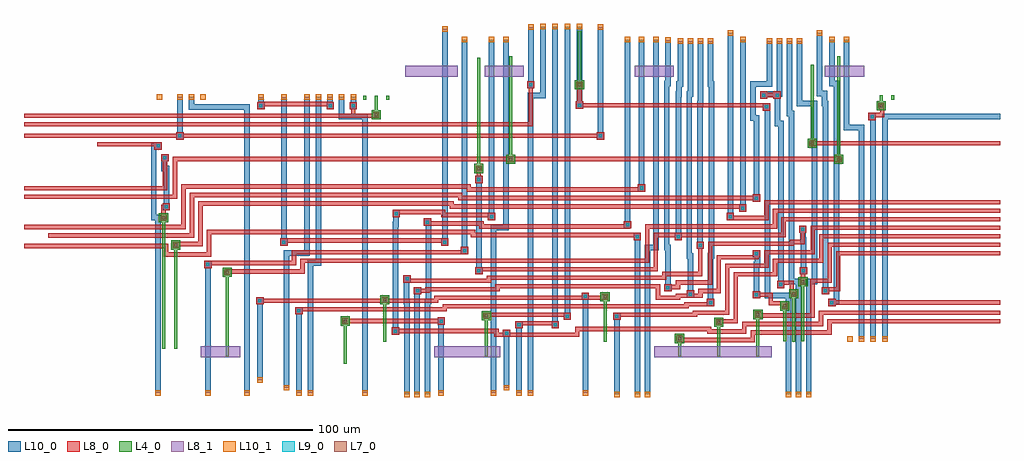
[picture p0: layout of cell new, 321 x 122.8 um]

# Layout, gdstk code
import gdstk
lib = gdstk.Library(unit=1e-6, precision=1e-09)
def R(c, l, rs):  # rectangles x0, y0, x1, y1
    for r in rs: c.add(gdstk.rectangle(r[:2], r[2:], *l))
def A(c, l, x, y, w, h, nx, ny, dx, dy):  # array of equal rectangles
    R(c, l, [(x+i*dx, y+j*dy, x+i*dx+w, y+j*dy+h) for i in range(nx) for j in range(ny)])
def P(c, l, *ps):  # polygons
    for p in ps: c.add(gdstk.Polygon(p, *l))
L4_0 = (4, 0)
L7_0 = (7, 0)
L8_0 = (8, 0)
L8_1 = (8, 1)
L9_0 = (9, 0)
L10_0 = (10, 0)
L10_1 = (10, 1)

cont = lib.new_cell('CONT')
R(cont, L4_0, [(-1.5,-1.5,1.5,1.5)])
R(cont, L7_0, [(-0.5,-0.5,0.5,0.5)])
R(cont, L8_0, [(-1,-1,1,1)])

via = lib.new_cell('VIA')
R(via, L8_0, [(-1.2,-1.2,1.2,1.2)])
R(via, L9_0, [(-0.5,-0.5,0.5,0.5)])
R(via, L10_0, [(-1.2,-1.2,1.2,1.2)])

new = lib.new_cell('new')
A(new, L4_0, 1433.0999, 13.4, 1, 1, 3, 1, 12.9, 0)
A(new, L4_0, 1329.5999, 97.8, 1, 1.4, 3, 1, 3.8, 0)
R(new, L4_0, [(1323.0999,11,1324.0999,12), (1323.0999,11.5,1324.0999,26.55), (1284.2999,13.4,1285.2999,14.4), (1369.5999,13.4,1370.5999,14.4), (1284.2999,13.9,1285.2999,42.55), (1369.5999,13.9,1370.5999,28.3), (1433.0999,13.9,1434.0999,20.8), (1445.9999,13.9,1446.9999,26.2), (1458.8999,13.9,1459.8999,28.7), (1263.3999,16,1264.3999,17), (1267.3999,16,1268.3999,17), (1263.3999,16.5,1264.3999,60.55), (1267.3999,16.5,1268.3999,51.55), (1336.1999,18.3,1337.1999,19.3), (1408.5999,18.3,1409.5999,19.3), (1470.6999,18.3,1471.6999,19.3), (1467.6999,18.4,1468.6999,19.4), (1473.6999,18.4,1474.6999,19.4), (1336.1999,18.8,1337.1999,33.5), (1408.5999,18.8,1409.5999,34.5), (1470.6999,18.8,1471.6999,35.5), (1467.6999,18.9,1468.6999,31.5), (1473.6999,18.9,1474.6999,39.5), (1367.0999,73.7,1368.0999,111.1), (1377.5999,76.8,1378.5999,111.6), (1485.4999,76.8,1486.4999,111.6), (1476.6999,82.05,1477.6999,108.9), (1333.3999,91.35,1334.3999,98.5), (1499.3999,94.4,1500.3998,98.6), (1499.3999,97.9,1500.3998,99.3), (1503.1998,97.9,1504.1998,99.3), (1400.1999,101.2,1401.1999,120.1), (1476.6999,108.4,1477.6999,109.4), (1367.0999,110.6,1368.0999,111.6), (1377.5999,111.1,1378.5999,112.1), (1485.4999,111.1,1486.4999,112.1), (1400.1999,119.6,1401.1999,120.6)])
R(new, L8_0, [(1380.0999,23.6,1393.3999,25), (1322.8999,24.35,1355.8999,25.75), (1369.3999,26.4,1397.3999,27.8), (1462.8999,30.2,1468.8999,31.6), (1482.9999,30.4,1538.9998,31.8), (1462.8999,30.9,1464.2999,33.7), (1458.1999,33,1464.2999,34.4), (1469.7789,34.1,1471.8999,35.5), (1469.7789,34.8,1471.1789,37.6), (1466.1999,36.9,1471.1789,38.3), (1473.4999,37,1474.8999,41.6), (1439.6999,40.5,1441.0999,51.2), (1473.4999,40.9,1475.0569,42.3), (1302.7999,50.8,1357.0999,52.2), (1473.4249,51,1474.8249,56.45), (1263.1999,58.05,1264.5999,62.65), (1263.1999,61.95,1265.4999,63.35), (1217.9999,68.05,1265.0499,69.45), (1263.6499,68.75,1265.0499,79.95), (1366.8999,70.4,1368.2999,76.2), (1242.0999,82.45,1262.7999,83.85), (1476.4999,82.85,1538.9998,84.25), (1217.9999,85.25,1408.2999,86.65), (1217.9999,89.05,1385.3999,90.45), (1383.9999,89.75,1385.3999,103.95), (1217.9999,91.85,1334.5999,93.25), (1496.2499,92.1,1500.9498,93.5), (1325.5999,92.55,1326.9999,97.05), (1499.5499,92.8,1500.9498,95.9), (1499.1999,95.2,1500.9498,96.6), (1399.9999,95.35,1462.8999,96.75), (1295.1999,95.7,1319.3999,97.1), (1399.9999,96.05,1401.3999,103.7), (1460.5999,98.65,1466.3749,100.05)])
P(new, L8_0, [(1217.9999,65.25),(1217.9999,66.65),(1266.9499,66.65),(1266.9499,79),(1486.6999,79),(1486.6999,77.6),(1268.3499,77.6),(1268.3499,65.25)],
  [(1217.9999,55.25),(1217.9999,56.65),(1269.7499,56.65),(1269.7499,70),(1364.9999,70),(1364.9999,69),(1421.7999,69),(1421.7999,67.6),(1363.5999,67.6),(1363.5999,68.6),(1271.1499,68.6),(1271.1499,55.25)],
  [(1264.0999,46.25),(1264.0999,49.05),(1217.9999,49.05),(1217.9999,50.45),(1265.4999,50.45),(1265.4999,47.65),(1278.1499,47.65),(1278.1499,55),(1366.3999,55),(1366.3999,54),(1420.3999,54),(1420.3999,52.6),(1364.9999,52.6),(1364.9999,53.6),(1279.5499,53.6),(1279.5499,46.25)],
  [(1445.7999,24.3),(1445.7999,25.7),(1451.3999,25.7),(1451.3999,41.1),(1464.2999,41.1),(1464.2999,45.6),(1479.5249,45.6),(1479.5249,53.65),(1538.9998,53.65),(1538.9998,52.25),(1480.9249,52.25),(1480.9249,44.2),(1465.6999,44.2),(1465.6999,39.7),(1452.7999,39.7),(1452.7999,24.3)],
  [(1449.5999,58.2),(1449.5999,59.6),(1461.4999,59.6),(1461.4999,64.85),(1538.9998,64.85),(1538.9998,63.45),(1462.8999,63.45),(1462.8999,58.2)],
  [(1372.6999,19.8),(1372.6999,21.05),(1339.4499,21.05),(1339.4499,22.45),(1374.0999,22.45),(1374.0999,21.2),(1399.2999,21.2),(1399.2999,23.1),(1444.0999,23.1),(1444.0999,22.3),(1454.1999,22.3),(1454.1999,24.8),(1479.3999,24.8),(1479.3999,28.5),(1538.9998,28.5),(1538.9998,27.1),(1480.7999,27.1),(1480.7999,23.4),(1455.5999,23.4),(1455.5999,20.9),(1442.6999,20.9),(1442.6999,21.7),(1400.6999,21.7),(1400.6999,19.8)],
  [(1366.8999,41.4),(1366.8999,42.8),(1425.0999,42.8),(1425.0999,54),(1467.0999,54),(1467.0999,59.25),(1538.9998,59.25),(1538.9998,57.85),(1468.4999,57.85),(1468.4999,52.6),(1426.4999,52.6),(1426.4999,41.4)],
  [(1284.0999,40.65),(1284.0999,42.05),(1308.8999,42.05),(1308.8999,45.6),(1422.2999,45.6),(1422.2999,56.8),(1464.2999,56.8),(1464.2999,62.05),(1538.9998,62.05),(1538.9998,60.65),(1465.6999,60.65),(1465.6999,55.4),(1423.6999,55.4),(1423.6999,44.2),(1310.2999,44.2),(1310.2999,40.65)],
  [(1412.2999,26.4),(1412.2999,27.8),(1437.9999,27.8),(1437.9999,28.5),(1448.5999,28.5),(1448.5999,43.9),(1461.4999,43.9),(1461.4999,48.4),(1476.7249,48.4),(1476.7249,56.45),(1538.9998,56.45),(1538.9998,55.05),(1478.1249,55.05),(1478.1249,47),(1462.8999,47),(1462.8999,42.5),(1449.9999,42.5),(1449.9999,27.1),(1439.3999,27.1),(1439.3999,26.4)],
  [(1480.8999,34.8),(1480.8999,36.2),(1485.1249,36.2),(1485.1249,48.05),(1538.9998,48.05),(1538.9998,46.65),(1486.5249,46.65),(1486.5249,34.8)],
  [(1432.8999,18.1),(1432.8999,19.5),(1456.9999,19.5),(1456.9999,22),(1482.1999,22),(1482.1999,25.7),(1538.9998,25.7),(1538.9998,24.3),(1483.5999,24.3),(1483.5999,20.6),(1458.3999,20.6),(1458.3999,18.1)],
  [(1458.6999,26.2),(1458.6999,27.6),(1476.5999,27.6),(1476.5999,39),(1482.3249,39),(1482.3249,50.85),(1538.9998,50.85),(1538.9998,49.45),(1483.7249,49.45),(1483.7249,37.6),(1477.9999,37.6),(1477.9999,26.2)],
  [(1355.1999,59.2),(1355.1999,60.2),(1339.6999,60.2),(1339.6999,61.6),(1356.5999,61.6),(1356.5999,60.6),(1372.4999,60.6),(1372.4999,59.2)],
  [(1307.6999,28.2),(1307.6999,29.6),(1355.6499,29.6),(1355.6499,30.6),(1435.1999,30.6),(1435.1999,31.3),(1444.4999,31.3),(1444.4999,29.9),(1436.5999,29.9),(1436.5999,29.2),(1357.0499,29.2),(1357.0499,28.2)],
  [(1277.7999,43.45),(1277.7999,44.85),(1306.0999,44.85),(1306.0999,48.4),(1363.5999,48.4),(1363.5999,47),(1307.4999,47),(1307.4999,43.45)],
  [(1294.8999,31),(1294.8999,32.4),(1352.8499,32.4),(1352.8499,33.4),(1409.7999,33.4),(1409.7999,32),(1354.2499,32),(1354.2499,31)],
  [(1367.7999,55.4),(1367.7999,56.4),(1349.9999,56.4),(1349.9999,57.8),(1369.1999,57.8),(1369.1999,56.8),(1417.1999,56.8),(1417.1999,55.4)],
  [(1267.1999,49.65),(1267.1999,51.05),(1275.3499,51.05),(1275.3499,64.4),(1359.3999,64.4),(1359.3999,63.4),(1455.0999,63.4),(1455.0999,62),(1357.9999,62),(1357.9999,63),(1276.7499,63),(1276.7499,49.65)],
  [(1425.7999,32),(1425.7999,35.8),(1374.3999,35.8),(1374.3999,34.8),(1351.4499,34.8),(1351.4499,34.3),(1346.7499,34.3),(1346.7499,35.7),(1350.0499,35.7),(1350.0499,36.2),(1372.9999,36.2),(1372.9999,37.2),(1427.1999,37.2),(1427.1999,33.4),(1432.3999,33.4),(1432.3999,34.1),(1439.7999,34.1),(1439.7999,35.6),(1445.7999,35.6),(1445.7999,46.7),(1459.5999,46.7),(1459.5999,45.3),(1447.1999,45.3),(1447.1999,34.2),(1441.1999,34.2),(1441.1999,32.7),(1433.7999,32.7),(1433.7999,32)],
  [(1429.0999,35.5),(1429.0999,36.9),(1432.3999,36.9),(1432.3999,38.4),(1442.9999,38.4),(1442.9999,51.2),(1469.8999,51.2),(1469.8999,51.7),(1474.8249,51.7),(1474.8249,50.3),(1471.2999,50.3),(1471.2999,49.8),(1444.3999,49.8),(1444.3999,37),(1433.7999,37),(1433.7999,35.5)],
  [(1343.2999,37.6),(1343.2999,39),(1370.1999,39),(1370.1999,40),(1427.8999,40),(1427.8999,41.2),(1441.0999,41.2),(1441.0999,39.8),(1429.2999,39.8),(1429.2999,38.6),(1371.5999,38.6),(1371.5999,37.6)],
  [(1225.9999,52.45),(1225.9999,53.85),(1272.5499,53.85),(1272.5499,67.2),(1362.1999,67.2),(1362.1999,66.2),(1459.5999,66.2),(1459.5999,64.8),(1360.7999,64.8),(1360.7999,65.8),(1273.9499,65.8),(1273.9499,52.45)])
A(new, L8_1, 1425.2999, 13.1, 12.9, 3.6, 3, 1, 12.9, 0)
R(new, L8_1, [(1276.1999,13.1,1289.0999,16.7), (1352.8999,13.1,1361.7999,16.7), (1361.7999,13.1,1374.6999,16.7), (1343.3999,105.4,1360.5999,109), (1369.4999,105.4,1382.3999,109), (1418.7999,105.4,1431.6999,109), (1481.3999,105.4,1494.2999,109)])
R(new, L10_0, [(1343.0999,0.9,1344.8999,31.4), (1346.3999,0.9,1348.1999,35), (1349.7999,0.9,1351.5999,31.4), (1412.0999,0.9,1413.8999,27.8), (1418.7999,0.9,1420.5999,54), (1422.1999,0.9,1423.9999,49.2), (1468.5999,0.9,1470.3999,33.5), (1471.8999,0.9,1473.6999,38), (1475.1999,0.9,1476.9999,38), (1261.1999,1.4,1262.9999,59.05), (1277.5999,1.4,1279.3999,44.85), (1290.4999,1.4,1292.2999,95.4), (1307.4999,1.4,1309.2999,29.6), (1311.2999,1.4,1313.0999,44.1), (1329.2999,1.4,1331.0999,92.25), (1354.2999,1.4,1356.0999,26.25), (1371.4999,1.4,1373.2999,55.8), (1379.8999,1.4,1381.6999,25), (1383.6999,1.4,1385.4999,99.15), (1401.6999,1.4,1403.4999,34.4), (1303.3999,3.1,1305.1999,47.4), (1375.7999,3.1,1377.5999,22.25), (1294.6999,5.6,1296.4999,32.9), (1492.5999,19.15,1494.3999,88.7), (1496.3999,19.15,1498.1999,92.3), (1500.1998,19.15,1501.9998,92.35), (1339.2499,20.55,1341.0499,56.8), (1391.7999,22.6,1393.5999,121.9), (1395.7999,25.4,1397.5999,121.9), (1442.8999,29.9,1444.6999,46.4), (1342.9499,30.5,1344.8999,32.3), (1349.7999,30.5,1351.9499,32.3), (1482.7999,30.5,1486.0999,32.3), (1342.9499,31.4,1344.7499,38.9), (1350.1499,31.4,1351.9499,57.6), (1484.2999,31.4,1486.0999,103.15), (1457.9999,32.5,1459.7999,43.6), (1461.5999,32.6,1470.3999,34.4), (1436.2999,32.7,1438.0999,46.4), (1461.5999,33.5,1463.3999,95.45), (1480.6999,33.8,1482.4999,96.55), (1346.3999,34.1,1348.3499,35.9), (1428.8999,34.8,1430.6999,49.2), (1465.9999,35.9,1467.7999,89.95), (1469.5999,37.1,1473.6999,38.9), (1475.1999,37.1,1478.8569,38.9), (1342.9499,38,1344.8999,39.8), (1469.5999,38,1471.3999,93.25), (1477.0569,38,1478.8569,96.55), (1366.6999,40.4,1368.4999,72.8), (1473.4569,40.4,1475.2569,51.65), (1457.9999,42.7,1460.0999,44.5), (1311.2999,43.2,1315.7999,45), (1458.2999,43.6,1460.0999,47.2), (1313.9999,44.1,1315.7999,98.75), (1435.8999,45.5,1438.0999,47.3), (1442.8999,45.5,1444.9999,47.3), (1457.9999,46.3,1460.0999,48.1), (1435.8999,46.4,1437.6999,99.65), (1443.1999,46.4,1444.9999,102.95), (1303.3999,46.5,1311.9999,48.3), (1361.9999,47,1363.7999,117.6), (1310.1999,47.4,1311.9999,98.75), (1422.1999,48.3,1426.7999,50.1), (1428.4999,48.3,1430.6999,50.1), (1439.4999,48.8,1441.2999,96.35), (1424.9999,49.2,1426.7999,117.6), (1428.4999,49.2,1430.2999,103.15), (1302.5999,49.8,1304.3999,98.7), (1355.4999,49.8,1357.2999,121.1), (1473.2999,50.75,1475.2569,52.55), (1432.2999,51.6,1434.0999,99.65), (1473.2999,51.65,1475.0999,55.25), (1473.2249,54.35,1475.0999,56.15), (1371.4999,54.9,1377.4999,56.7), (1415.5999,55.5,1417.3999,117.6), (1375.6999,55.8,1377.4999,117.6), (1339.2499,55.9,1341.2999,57.7), (1349.7999,56.7,1351.9499,58.5), (1339.4999,56.8,1341.2999,61.6), (1259.7749,58.15,1262.9999,59.95), (1370.8999,58.2,1372.6999,117.6), (1449.3999,58.2,1451.1999,119.8), (1259.7749,59.05,1261.5749,82.65), (1453.4999,61,1455.2999,117.6), (1263.8999,61.45,1265.6999,75.15), (1457.9999,64.3,1459.7999,91.85), (1420.1999,67.6,1421.9999,117.6), (1263.0749,74.25,1265.6999,76.05), (1263.0749,75.15,1264.8749,78.75), (1263.0749,77.85,1265.2499,79.65), (1259.7749,81.75,1262.9999,83.55), (1268.3999,84.75,1270.1999,98.75), (1406.6999,84.75,1408.4999,121.7), (1487.5999,87.8,1494.3999,89.6), (1487.5999,88.7,1489.3999,117.6), (1464.8999,89.05,1467.7999,90.85), (1464.8999,89.95,1466.6999,99.35), (1456.7999,90.95,1459.7999,92.75), (1321.5999,91.35,1331.0999,93.15), (1496.0499,91.4,1498.1999,93.2), (1500.1998,91.45,1538.9998,93.25), (1456.7999,91.85,1458.5999,102.95), (1321.5999,92.25,1323.3999,98.75), (1468.8999,92.35,1471.3999,94.15), (1468.8999,93.25,1470.6999,117.1), (1272.1999,94.5,1292.2999,96.3), (1461.2999,94.55,1463.3999,96.35), (1294.9999,94.65,1296.7999,98.7), (1317.7999,94.65,1319.5999,98.75), (1325.3999,94.65,1327.1999,98.75), (1399.7999,94.85,1401.5999,121.9), (1272.1999,95.4,1273.9999,98.75), (1439.4999,95.45,1441.3999,97.25), (1472.1999,95.65,1478.8569,97.45), (1480.3569,95.65,1482.4999,97.45), (1439.5999,96.35,1441.3999,117.1), (1472.1999,96.55,1473.9999,117.1), (1480.3569,96.55,1482.1569,99.85), (1383.6999,98.25,1389.5999,100.05), (1464.7749,98.45,1466.6999,100.25), (1432.2999,98.75,1434.3999,100.55), (1435.8999,98.75,1438.0999,100.55), (1460.3999,98.75,1467.3999,100.55), (1478.6999,98.95,1482.1569,100.75), (1387.7999,99.15,1389.5999,121.9), (1432.5999,99.65,1434.3999,102.95), (1436.2999,99.65,1438.0999,117.1), (1465.5999,99.65,1467.3999,117.1), (1478.6999,99.85,1480.4999,119.8), (1383.7999,101.55,1385.5999,121.7), (1432.5999,102.05,1434.7999,103.85), (1442.8999,102.05,1444.9999,103.85), (1456.7999,102.05,1464.0999,103.85), (1428.4999,102.25,1430.6999,104.05), (1482.7999,102.25,1486.0999,104.05), (1432.9999,102.95,1434.7999,117.1), (1442.8999,102.95,1444.6999,117.1), (1462.2999,102.95,1464.0999,117.1), (1428.8999,103.15,1430.6999,117.4), (1482.7999,103.15,1484.5999,117.6)])
A(new, L10_1, 1468.5999, 0, 1.8, 1.8, 3, 1, 3.3, 0)
A(new, L10_1, 1488.7999, 18.2, 1.8, 1.9, 4, 1, 3.8, 0)
A(new, L10_1, 1268.3999, 97.8, 1.8, 1.9, 3, 1, 3.8, 0)
A(new, L10_1, 1310.1999, 97.8, 1.8, 1.9, 5, 1, 3.8, 0)
A(new, L10_1, 1432.9999, 116.2, 1.8, 1.8, 4, 1, 3.3, 0)
A(new, L10_1, 1462.2999, 116.2, 1.8, 1.8, 4, 1, 3.3, 0)
A(new, L10_1, 1387.7999, 121, 1.8, 1.8, 4, 1, 4, 0)
R(new, L10_1, [(1343.0999,0,1344.8999,1.8), (1346.3999,0,1348.1999,1.8), (1349.7999,0,1351.5999,1.8), (1412.0999,0,1413.8999,1.8), (1418.7999,0,1420.5999,1.8), (1422.1999,0,1423.9999,1.8), (1261.1999,0.5,1262.9999,2.3), (1277.5999,0.5,1279.3999,2.3), (1290.4999,0.5,1292.2999,2.3), (1307.4999,0.5,1309.2999,2.3), (1311.2999,0.5,1313.0999,2.3), (1329.2999,0.5,1331.0999,2.3), (1354.2999,0.5,1356.0999,2.3), (1371.4999,0.5,1373.2999,2.3), (1379.8999,0.5,1381.6999,2.3), (1383.6999,0.5,1385.4999,2.3), (1401.6999,0.5,1403.4999,2.3), (1303.3999,2.2,1305.1999,4), (1375.7999,2.2,1377.5999,4), (1294.6999,4.7,1296.4999,6.5), (1261.6999,97.8,1263.4999,99.7), (1294.9999,97.8,1296.7999,99.6), (1302.5999,97.8,1304.3999,99.6), (1428.8999,116.5,1430.6999,118.3), (1361.9999,116.7,1363.7999,118.5), (1370.8999,116.7,1372.6999,118.5), (1375.6999,116.7,1377.4999,118.5), (1415.5999,116.7,1417.3999,118.5), (1420.1999,116.7,1421.9999,118.5), (1424.9999,116.7,1426.7999,118.5), (1453.4999,116.7,1455.2999,118.5), (1482.7999,116.7,1484.5999,118.5), (1487.5999,116.7,1489.3999,118.5), (1449.3999,118.9,1451.1999,120.7), (1478.6999,118.9,1480.4999,120.7), (1355.4999,120.2,1357.2999,122), (1383.7999,120.8,1385.5999,122.6), (1406.6999,120.8,1408.4999,122.6)])
new.add(gdstk.Reference(cont, (1468.1999,30)))
new.add(gdstk.Reference(cont, (1499.8999,95.9)))
new.add(gdstk.Reference(cont, (1263.8999,59.05)))
new.add(gdstk.Reference(cont, (1477.1999,83.55)))
new.add(gdstk.Reference(cont, (1370.0999,26.8)))
new.add(gdstk.Reference(cont, (1336.6999,32)))
new.add(gdstk.Reference(cont, (1367.5999,75.2)))
new.add(gdstk.Reference(cont, (1333.8999,92.85)))
new.add(gdstk.Reference(cont, (1409.0999,33)))
new.add(gdstk.Reference(cont, (1267.8999,50.05)))
new.add(gdstk.Reference(cont, (1433.5999,19.3)))
new.add(gdstk.Reference(cont, (1459.3999,27.2)))
new.add(gdstk.Reference(cont, (1474.1999,38)))
new.add(gdstk.Reference(cont, (1446.4999,24.7)))
new.add(gdstk.Reference(cont, (1378.0999,78.3)))
new.add(gdstk.Reference(cont, (1471.1999,34)))
new.add(gdstk.Reference(cont, (1323.5999,25.05)))
new.add(gdstk.Reference(cont, (1400.6999,102.7)))
new.add(gdstk.Reference(cont, (1485.9999,78.3)))
new.add(gdstk.Reference(cont, (1284.7999,41.05)))
new.add(gdstk.Reference(via, (1269.2999,85.95)))
new.add(gdstk.Reference(via, (1278.4999,43.65)))
new.add(gdstk.Reference(via, (1412.9999,26.6)))
new.add(gdstk.Reference(via, (1443.7999,31.1)))
new.add(gdstk.Reference(via, (1295.5999,31.7)))
new.add(gdstk.Reference(via, (1462.1999,95.45)))
new.add(gdstk.Reference(via, (1407.5999,85.95)))
new.add(gdstk.Reference(via, (1326.2999,95.85)))
new.add(gdstk.Reference(via, (1362.8999,48.2)))
new.add(gdstk.Reference(via, (1347.4499,35)))
new.add(gdstk.Reference(via, (1396.6999,26.6)))
new.add(gdstk.Reference(via, (1350.6999,57.6)))
new.add(gdstk.Reference(via, (1402.5999,33.2)))
new.add(gdstk.Reference(via, (1437.1999,33.9)))
new.add(gdstk.Reference(via, (1496.9499,92.3)))
new.add(gdstk.Reference(via, (1384.6999,102.75)))
new.add(gdstk.Reference(via, (1421.0999,68.8)))
new.add(gdstk.Reference(via, (1419.6999,52.8)))
new.add(gdstk.Reference(via, (1416.4999,56.7)))
new.add(gdstk.Reference(via, (1458.8999,47.2)))
new.add(gdstk.Reference(via, (1303.4999,51)))
new.add(gdstk.Reference(via, (1429.7999,36)))
new.add(gdstk.Reference(via, (1458.8999,33.7)))
new.add(gdstk.Reference(via, (1295.8999,95.85)))
new.add(gdstk.Reference(via, (1343.9999,38.9)))
new.add(gdstk.Reference(via, (1264.7999,62.65)))
new.add(gdstk.Reference(via, (1454.3999,62.2)))
new.add(gdstk.Reference(via, (1380.7999,23.8)))
new.add(gdstk.Reference(via, (1356.3999,51)))
new.add(gdstk.Reference(via, (1481.5999,35)))
new.add(gdstk.Reference(via, (1474.1249,55.25)))
new.add(gdstk.Reference(via, (1466.8999,37.1)))
new.add(gdstk.Reference(via, (1318.6999,95.85)))
new.add(gdstk.Reference(via, (1340.1499,21.75)))
new.add(gdstk.Reference(via, (1440.3999,50)))
new.add(gdstk.Reference(via, (1367.5999,71.6)))
new.add(gdstk.Reference(via, (1392.6999,23.8)))
new.add(gdstk.Reference(via, (1483.6999,31.1)))
new.add(gdstk.Reference(via, (1367.5999,41.6)))
new.add(gdstk.Reference(via, (1262.0999,82.65)))
new.add(gdstk.Reference(via, (1264.3499,78.75)))
new.add(gdstk.Reference(via, (1450.2999,59.4)))
new.add(gdstk.Reference(via, (1474.3569,41.6)))
new.add(gdstk.Reference(via, (1376.6999,21.05)))
new.add(gdstk.Reference(via, (1433.1999,52.8)))
new.add(gdstk.Reference(via, (1458.8999,65.5)))
new.add(gdstk.Reference(via, (1461.2999,99.35)))
new.add(gdstk.Reference(via, (1340.3999,60.4)))
new.add(gdstk.Reference(via, (1355.1999,25.05)))
new.add(gdstk.Reference(via, (1308.3999,28.4)))
new.add(gdstk.Reference(via, (1465.6749,99.35)))
new.add(gdstk.Reference(via, (1371.7999,59.4)))
new.add(gdstk.Reference(via, (1400.6999,96.05)))

lib.write_gds('new.gds')
